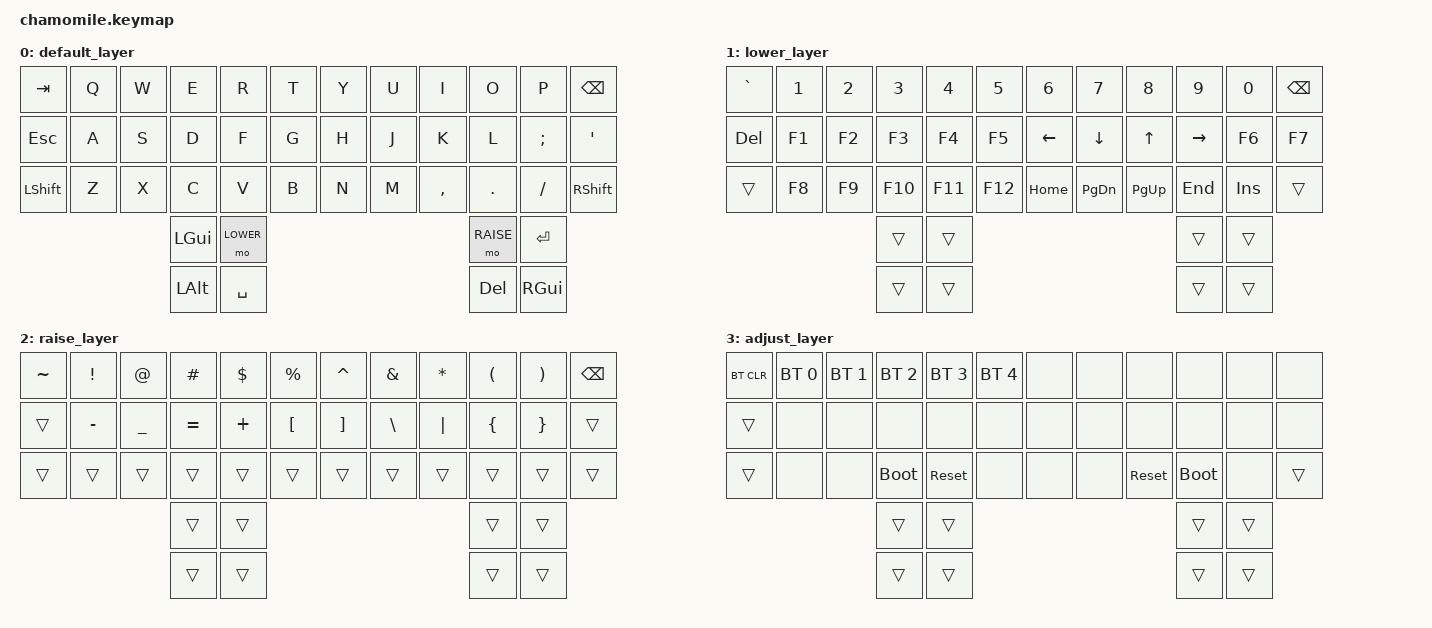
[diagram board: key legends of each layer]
// Copyright (c) 2026 The ZMK Contributors
// SPDX-License-Identifier: MIT

#include <behaviors.dtsi>
#include <dt-bindings/zmk/keys.h>
#include <dt-bindings/zmk/bt.h>
#include <dt-bindings/zmk/outputs.h>

#define BASE   0
#define LOWER  1
#define RAISE  2
#define ADJUST 3

/ {
	keymap {
		compatible = "zmk,keymap";

		default_layer {
			// -----------------------------------------------------------------------------------------------------------------
			// | TAB    |  Q   |  W   |  E   |  R   |  T   |                | Y    |  U   |  I    |  O   |  P    | BSPC   |
			// | ESC    |  A   |  S   |  D   |  F   |  G   |                | H    |  J   |  K    |  L   |  ;    | '      |
			// | SHIFT  |  Z   |  X   |  C   |  V   |  B   |                | N    |  M   |  ,    |  .   |  /    | SHIFT  |
			//                        | GUI  | LOWER|                                     | RAISE| ENTER|
			//                        | ALT  | SPACE|                                     | DEL  | GUI  |
			bindings = <
&kp TAB    &kp Q &kp W &kp E &kp R &kp T          &kp Y &kp U &kp I     &kp O    &kp P    &kp BSPC
&kp ESC    &kp A &kp S &kp D &kp F &kp G          &kp H &kp J &kp K     &kp L    &kp SEMI &kp SQT
&kp LSHFT  &kp Z &kp X &kp C &kp V &kp B          &kp N &kp M &kp COMMA &kp DOT  &kp FSLH &kp RSHFT
                        &kp LGUI &mo LOWER                              &mo RAISE &kp RET
                        &kp LALT &kp SPACE                              &kp DEL   &kp RGUI
			>;
		};

		lower_layer {
			// -----------------------------------------------------------------------------------------------------------------
			// | `      |  1   |  2   |  3   |  4   |  5   |                | 6    |  7   |  8    |  9   |  0    | BSPC   |
			// | DEL    |  F1  |  F2  |  F3  |  F4  |  F5  |                | LEFT | DOWN | UP    | RIGHT| F6    | F7     |
			// | TRANS  |  F8  |  F9  |  F10 |  F11 |  F12 |                | HOME | PGDN | PGUP  | END  | INS   | TRANS  |
			//                        | TRANS| TRANS|                                     | TRANS| TRANS|
			//                        | TRANS| TRANS|                                     | TRANS| TRANS|
			bindings = <
&kp GRAVE &kp N1 &kp N2 &kp N3  &kp N4  &kp N5          &kp N6    &kp N7    &kp N8   &kp N9   &kp N0   &kp BSPC
&kp DEL   &kp F1 &kp F2 &kp F3  &kp F4  &kp F5          &kp LEFT  &kp DOWN  &kp UP   &kp RIGHT &kp F6  &kp F7
&trans    &kp F8 &kp F9 &kp F10 &kp F11 &kp F12         &kp HOME  &kp PG_DN &kp PG_UP &kp END &kp INS  &trans
                          &trans &trans                                     &trans   &trans
                          &trans &trans                                     &trans   &trans
			>;
		};

		raise_layer {
			// -----------------------------------------------------------------------------------------------------------------
			// | ~      |  !   |  @   |  #   |  $   |  %   |                | ^    |  &   |  *    |  (   |  )    | BSPC   |
			// | TRANS  |  -   |  _   |  =   |  +   |  [   |                | ]    |  \   |  |    |  {   |  }    | TRANS  |
			// | TRANS  |      |      |      |      |      |                |      |      |       |      |       | TRANS  |
			//                        | TRANS| TRANS|                                     | TRANS| TRANS|
			//                        | TRANS| TRANS|                                     | TRANS| TRANS|
			bindings = <
&kp TILDE &kp EXCL  &kp AT    &kp HASH  &kp DLLR  &kp PRCNT          &kp CARET  &kp AMPS      &kp STAR   &kp LPAR  &kp RPAR  &kp BSPC
&trans    &kp MINUS &kp UNDER &kp EQUAL &kp PLUS  &kp LBKT           &kp RBKT   &kp BACKSLASH &kp PIPE   &kp LBRC  &kp RBRC  &trans
&trans    &trans    &trans    &trans    &trans    &trans             &trans     &trans        &trans     &trans    &trans    &trans
                               &trans    &trans                                                &trans     &trans
                               &trans    &trans                                                &trans     &trans
			>;
		};

		adjust_layer {
			// -----------------------------------------------------------------------------------------------------------------
			// | BTCLR  | BT0  | BT1  | BT2  | BT3  | BT4  |                |      |      |       |      |       |        |
			// | TRANS  |      |      |      |      |      |                |      |      |       |      |       |        |
			// | TRANS  |      |      | BOOT |RESET |      |                |      |      | RESET |BOOT  |       |        |
			//                        | TRANS| TRANS|                                     | TRANS| TRANS|
			//                        | TRANS| TRANS|                                     | TRANS| TRANS|
			bindings = <
&bt BT_CLR   &bt BT_SEL 0 &bt BT_SEL 1 &bt BT_SEL 2 &bt BT_SEL 3 &bt BT_SEL 4          &none &none &none         &none         &none &none
&trans       &none        &none        &none        &none        &none                 &none &none &none         &none         &none &none
&trans       &none        &none        &bootloader  &sys_reset   &none                 &none &none &sys_reset    &bootloader   &none &trans
                                        &trans       &trans                                          &trans        &trans
                                        &trans       &trans                                          &trans        &trans
			>;
		};
	};
};
